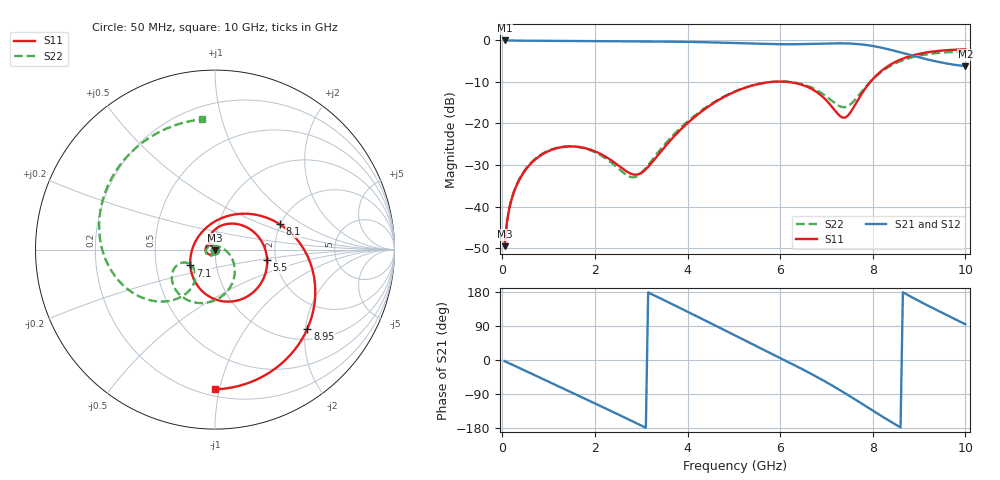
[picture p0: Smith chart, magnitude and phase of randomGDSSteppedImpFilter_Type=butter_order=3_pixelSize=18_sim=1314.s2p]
! freq	dB(S11)	phase(S11)	dB(S12)	phase(S12)
!  dB(S21)	phase(S21)	dB(S22)	phase(S22)
!S-par simulation data
#  GHz  S  DB  R 50
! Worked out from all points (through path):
!   200 points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, 50 MHz to 10 GHz, reference 50 ohm
!   highest |S21| = -0.02 dB at 50 MHz (marker M1); lowest = -6.2 dB at 10 GHz (marker M2)
!   group delay of S21, straight-line fit = 175 ps
!   lowest |S11| = -49.5 dB at 50 MHz (marker M3), VSWR 1.01, Z = 50.2 - j0.291 ohm
!   |S11| at or under -10 dB: start of sweep to 5.82 GHz; 6.158 GHz to 7.948 GHz (1.79 GHz wide, 25.4 % of centre)
!   |S22| runs from -49.5 to -2.7 dB; largest |S21 - S12| = 0
!   S11 on the Smith chart (normalised r, x): 50 MHz: 1.00, -0.01; 5.5 GHz: 1.80, -0.23; 7.1 GHz: 0.75, -0.14; 8.1 GHz: 1.99, +0.66; 8.95 GHz: 1.25, -2.05; 10 GHz: 0.25, -0.97
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0.05  -49.52 -60.3  -0.02 -2.9  -0.02 -2.9  -49.46 -59.8
0.1  -43.76 -69.5  -0.04 -5.8  -0.04 -5.8  -43.68 -68.2
0.2  -38.26 -83.6  -0.05 -11.5  -0.05 -11.5  -38.13 -80.8
0.55  -30.48 -117.6  -0.09 -31.5  -0.09 -31.5  -30.32 -109.3
1.2  -25.88 -165.1  -0.14 -68.6  -0.14 -68.6  -25.79 -146.4
1.75  -25.84 157.8  -0.17 -100.1  -0.17 -100.1  -25.90 -175.7
2.25  -28.11 128.3  -0.20 -129.0  -0.20 -129.0  -28.52 153.4
2.8  -32.18 121.5  -0.23 -161.1  -0.23 -161.1  -32.95 86.3
3.4  -27.08 132.1  -0.29 163.5  -0.29 163.5  -26.43 5.5
4.25  -17.57 78.5  -0.42 112.2  -0.42 112.2  -17.30 -38.4
4.65  -14.50 49.2  -0.52 87.8  -0.52 87.8  -14.36 -56.5
5.05  -12.22 20.3  -0.66 63.3  -0.66 63.3  -12.16 -75.3
5.5  -10.57 -11.3  -0.82 35.9  -0.82 35.9  -10.56 -97.1
6.1  -9.95 -53.3  -0.94 -0.6  -0.94 -0.6  -9.91 -126.3
6.7  -11.82 -100.4  -0.85 -38.5  -0.85 -38.5  -11.47 -152.2
7.1  -15.74 -147.3  -0.73 -65.7  -0.73 -65.7  -14.40 -157.9
7.45  -18.26 125.8  -0.75 -91.3  -0.75 -91.3  -15.90 -135.9
8.1  -8.20 21.2  -1.56 -141.3  -1.56 -141.3  -8.35 -131.6
8.35  -6.05 -0.3  -2.18 -160.0  -2.18 -160.0  -6.35 -145.8
8.95  -3.38 -40.6  -3.95 158.8  -3.95 158.8  -3.81 174.2
9.45  -2.50 -66.4  -5.26 127.6  -5.26 127.6  -2.99 138.4
10  -2.17 -89.8  -6.20 94.3  -6.20 94.3  -2.74 95.6
